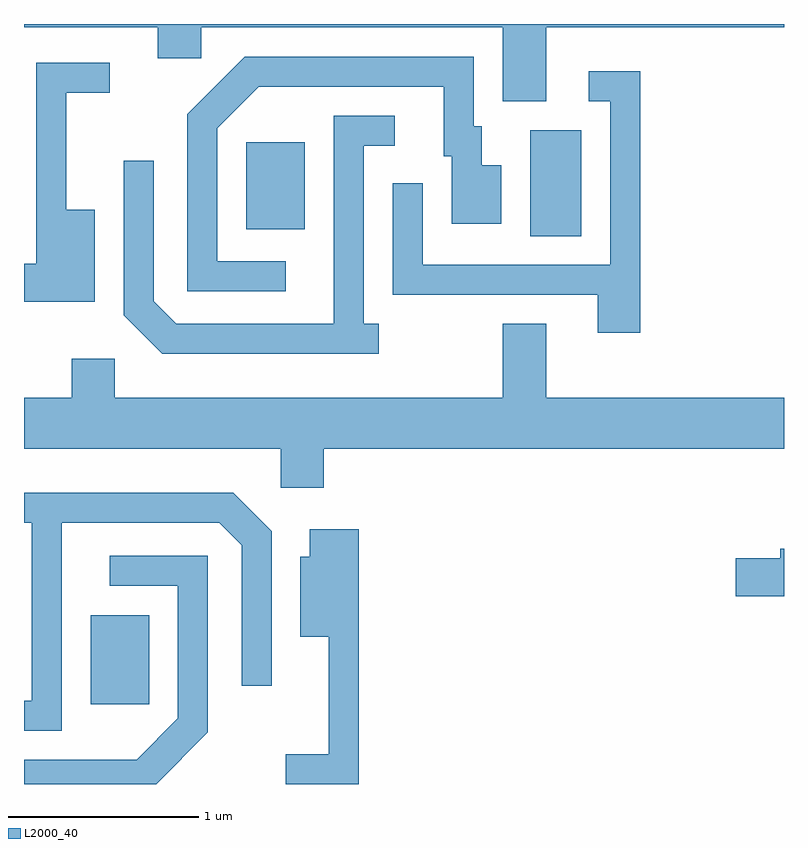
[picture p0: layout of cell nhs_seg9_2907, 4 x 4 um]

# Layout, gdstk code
import gdstk
lib = gdstk.Library(unit=1e-6, precision=1e-09)
def R(c, l, rs):  # rectangles x0, y0, x1, y1
    for r in rs: c.add(gdstk.rectangle(r[:2], r[2:], *l))
def P(c, l, *ps):  # polygons
    for p in ps: c.add(gdstk.Polygon(p, *l))
L2000_40 = (2000, 40)

nhs_seg9_2907 = lib.new_cell('nhs_seg9_2907')
R(nhs_seg9_2907, L2000_40, [(269.961,2054.851,270.269,2055.319), (272.276,2057.316,272.544,2057.874), (270.781,2057.351,271.089,2057.809)])
P(nhs_seg9_2907, L2000_40, [(272.359,2058.416),(273.611,2058.416),(273.611,2058.432),(269.611,2058.432),(269.611,2058.416),(270.316,2058.416),(270.316,2058.251),(270.544,2058.251),(270.544,2058.416),(272.131,2058.416),(272.131,2058.026),(272.359,2058.026)],
  [(270.988,2057.184),(270.629,2057.184),(270.629,2057.884),(270.847,2058.101),(271.821,2058.101),(271.821,2057.736),(271.861,2057.736),(271.861,2057.381),(272.124,2057.381),(272.124,2057.689),(272.019,2057.689),(272.019,2057.894),(271.979,2057.894),(271.979,2058.259),(270.774,2058.259),(270.471,2057.957),(270.471,2057.026),(270.988,2057.026)],
  [(269.984,2057.454),(269.834,2057.454),(269.834,2058.071),(270.063,2058.071),(270.063,2058.229),(269.676,2058.229),(269.676,2057.169),(269.611,2057.169),(269.611,2056.971),(269.984,2056.971)],
  [(272.854,2058.184),(272.583,2058.184),(272.583,2058.026),(272.696,2058.026),(272.696,2057.164),(271.709,2057.164),(271.709,2057.593),(271.551,2057.593),(271.551,2057.006),(272.631,2057.006),(272.631,2056.806),(272.854,2056.806)],
  [(271.478,2056.854),(271.399,2056.854),(271.399,2057.791),(271.563,2057.791),(271.563,2057.949),(271.241,2057.949),(271.241,2056.854),(270.412,2056.854),(270.294,2056.972),(270.294,2057.713),(270.136,2057.713),(270.136,2056.899),(270.339,2056.696),(271.478,2056.696)],
  [(271.189,2056.196),(273.611,2056.196),(273.611,2056.464),(272.359,2056.464),(272.359,2056.854),(272.131,2056.854),(272.131,2056.464),(270.089,2056.464),(270.089,2056.669),(269.861,2056.669),(269.861,2056.464),(269.611,2056.464),(269.611,2056.196),(270.961,2056.196),(270.961,2055.991),(271.189,2055.991)],
  [(269.809,2055.806),(270.639,2055.806),(270.756,2055.689),(270.756,2054.948),(270.914,2054.948),(270.914,2055.762),(270.712,2055.964),(269.611,2055.964),(269.611,2055.806),(269.651,2055.806),(269.651,2054.869),(269.611,2054.869),(269.611,2054.711),(269.809,2054.711)],
  [(271.374,2055.774),(271.116,2055.774),(271.116,2055.629),(271.066,2055.629),(271.066,2055.206),(271.216,2055.206),(271.216,2054.589),(270.988,2054.589),(270.988,2054.432),(271.374,2054.432)],
  [(273.611,2055.669),(273.591,2055.669),(273.591,2055.619),(273.356,2055.619),(273.356,2055.421),(273.611,2055.421)],
  [(270.579,2054.704),(270.579,2055.634),(270.063,2055.634),(270.063,2055.476),(270.421,2055.476),(270.421,2054.777),(270.204,2054.559),(269.611,2054.559),(269.611,2054.432),(270.308,2054.432)])

lib.write_gds('nhs_seg9_2907.gds')
